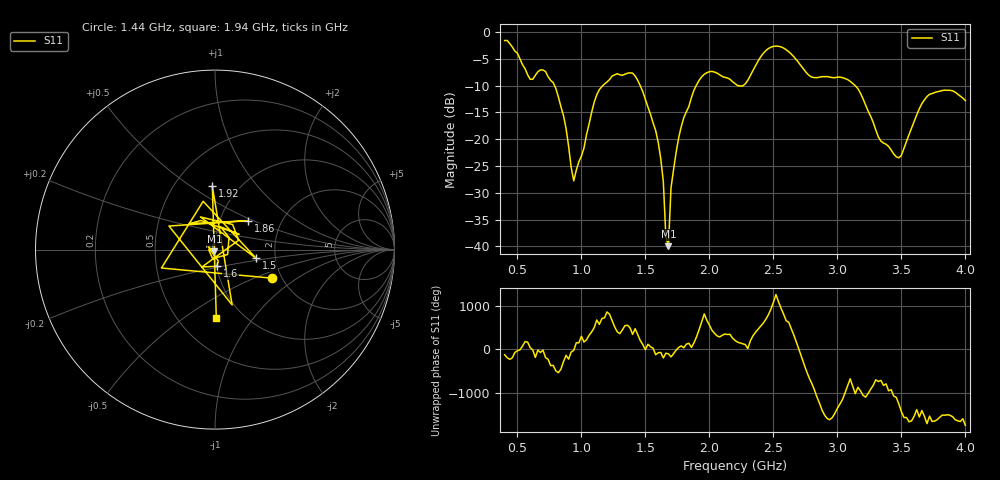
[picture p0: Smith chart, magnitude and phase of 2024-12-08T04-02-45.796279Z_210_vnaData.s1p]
!Created with skrf (http://scikit-rf.org).
# Hz S RI R 50.0
!freq ReS11 ImS11
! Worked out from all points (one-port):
!   181 points, 400 MHz to 4 GHz, reference 50 ohm
!   lowest |S11| = -40.0 dB at 1.68 GHz (marker M1), VSWR 1.02, Z = 49.7 - j0.954 ohm
!   |S11| at or under -10 dB: 790.5 MHz to 1.167 GHz (376.5 MHz wide, 38.5 % of centre); 1.46 GHz to 1.897 GHz (436.9 MHz wide, 26 % of centre); 3.14 GHz to end of sweep (the widest 3 of 4)
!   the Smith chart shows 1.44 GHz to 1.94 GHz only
!   S11 on the Smith chart (normalised r, x): 1.44 GHz: 1.78, -0.65; 1.5 GHz: 1.59, -0.16; 1.6 GHz: 1.01, -0.19; 1.86 GHz: 1.36, +0.47; 1.92 GHz: 0.76, +0.61; 1.94 GHz: 0.75, -0.68
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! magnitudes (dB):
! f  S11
! 400 MHz  -1.6
! 600 MHz  -8.8
! 720 MHz  -7.4
! 860 MHz  -15.6
! 940 MHz  -27.8
! 1.12 GHz  -11.7
! 1.3 GHz  -8.0
! 1.44 GHz  -9.0
! 1.5 GHz  -12.6
! 1.6 GHz  -20.6
! 1.64 GHz  -27.9
! 1.66 GHz  -38.3
! 1.68 GHz  -40.0
! 1.7 GHz  -29.1
! 1.76 GHz  -19.7
! 1.86 GHz  -12.2
! 1.92 GHz  -9.0
! 1.94 GHz  -8.3
! 2.2 GHz  -9.6
! 2.28 GHz  -9.7
! 2.48 GHz  -2.8
! 2.66 GHz  -4.6
! 2.8 GHz  -8.4
! 3.1 GHz  -9.2
! 3.46 GHz  -23.3
! 3.56 GHz  -19.1
! 3.72 GHz  -11.6
! 4 GHz  -12.8
